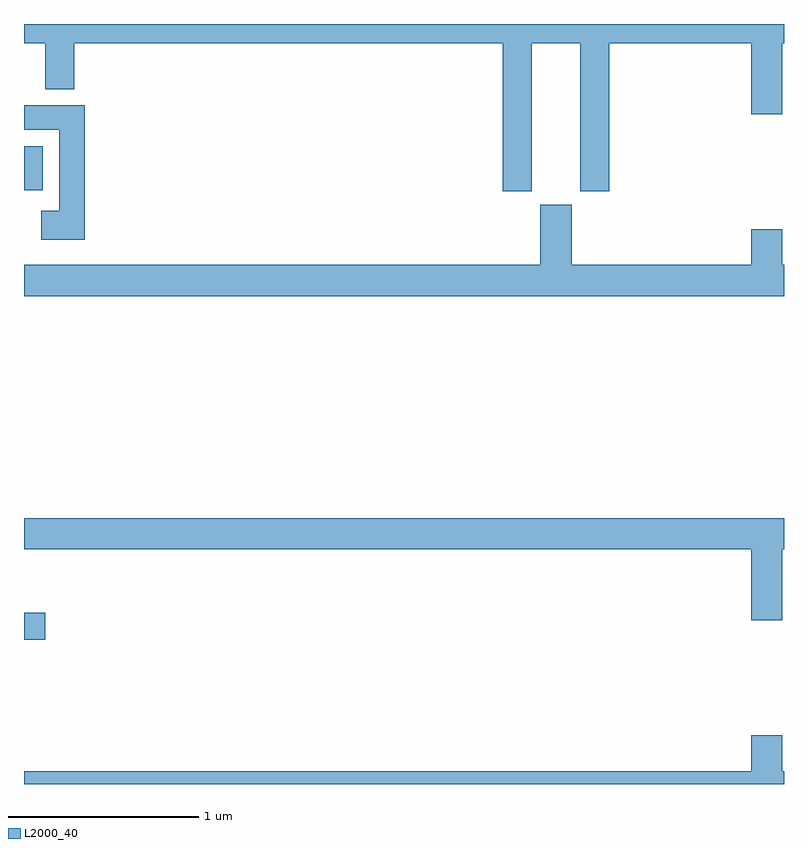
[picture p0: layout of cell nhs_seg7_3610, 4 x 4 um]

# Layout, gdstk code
import gdstk
lib = gdstk.Library(unit=1e-6, precision=1e-09)
def R(c, l, rs):  # rectangles x0, y0, x1, y1
    for r in rs: c.add(gdstk.rectangle(r[:2], r[2:], *l))
def P(c, l, *ps):  # polygons
    for p in ps: c.add(gdstk.Polygon(p, *l))
L2000_40 = (2000, 40)

nhs_seg7_3610 = lib.new_cell('nhs_seg7_3610')
R(nhs_seg7_3610, L2000_40, [(341,1046.759,341.113,1046.901), (341,1049.126,341.098,1049.356)])
P(nhs_seg7_3610, L2000_40, [(343.672,1049.9),(343.928,1049.9),(343.928,1049.121),(344.081,1049.121),(344.081,1049.9),(344.828,1049.9),(344.828,1049.526),(344.992,1049.526),(344.992,1049.9),(345,1049.9),(345,1050),(341,1050),(341,1049.9),(341.111,1049.9),(341.111,1049.657),(341.264,1049.657),(341.264,1049.9),(343.52,1049.9),(343.52,1049.121),(343.672,1049.121)],
  [(341.321,1049.572),(341,1049.572),(341,1049.444),(341.186,1049.444),(341.186,1049.017),(341.091,1049.017),(341.091,1048.865),(341.321,1048.865)],
  [(345,1048.732),(344.992,1048.732),(344.992,1048.921),(344.828,1048.921),(344.828,1048.732),(343.882,1048.732),(343.882,1049.049),(343.718,1049.049),(343.718,1048.732),(341,1048.732),(341,1048.568),(345,1048.568)],
  [(344.992,1047.236),(345,1047.236),(345,1047.4),(341,1047.4),(341,1047.236),(344.828,1047.236),(344.828,1046.862),(344.992,1046.862)],
  [(345,1046.068),(344.992,1046.068),(344.992,1046.257),(344.828,1046.257),(344.828,1046.068),(341,1046.068),(341,1046),(345,1046)])

lib.write_gds('nhs_seg7_3610.gds')
